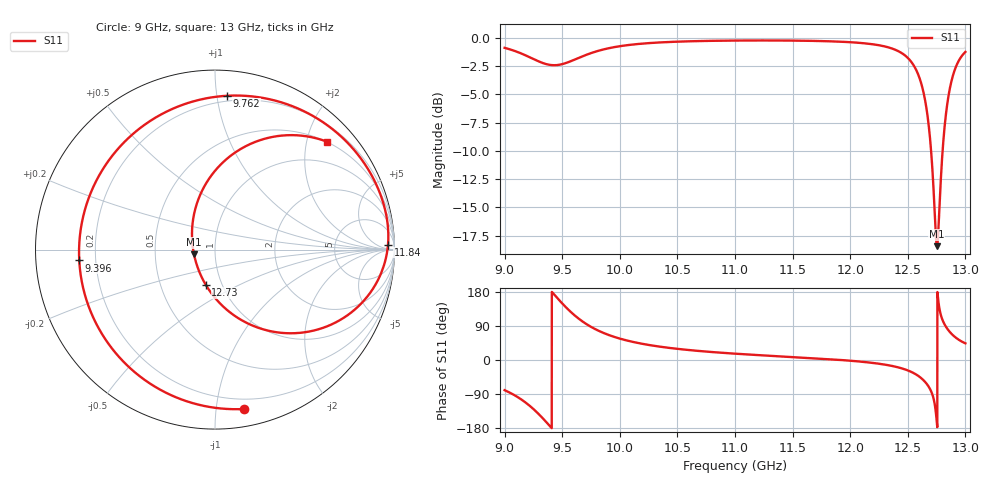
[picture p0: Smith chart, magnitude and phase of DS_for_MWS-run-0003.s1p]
! TOUCHSTONE file generated by CST DESIGN STUDIO
! Date and time: Tue Feb  4 17:26:05 2025
! Project name: C:\Work\MatlabApps\UnitCellOptimizationMatlab\CST\unitcell.cst
! Tree item: Tasks\Sweep1\SPara1\S-Parameters
! Header version: 2024
! Port assignment regex: !\s*Touchstone port\s*([0-9]+)\s*=\s*(CST MWS port|CST DES external port|CST DES block port)\s*(.+)\s* \(\"(.*)\"\)(\s*mode\s*([0-9]+))?.*
! Touchstone port assignment:
! Touchstone port 1 = CST DES external port 1 ("")
# GHz S MA R 50
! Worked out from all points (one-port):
!   4001 points, 9 GHz to 13 GHz, reference 50 ohm
!   lowest |S11| = -18.4 dB at 12.75 GHz (marker M1), VSWR 1.27, Z = 39.5 - j2.08 ohm
!   |S11| at or under -10 dB: 12.7 GHz to 12.8 GHz (99.77 MHz wide, 0.782 % of centre)
!   S11 on the Smith chart (normalised r, x): 9 GHz: 0.12, -1.19; 9.396 GHz: 0.14, -0.04; 9.762 GHz: 0.16, +1.07; 11.84 GHz: 34, +27; 12.73 GHz: 0.84, -0.34; 13 GHz: 0.50, +2.39
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9  0.9029 -79.6
9.114  0.8648 -98.0
9.208  0.8249 -118.4
9.314  0.7797 -148.3
9.396  0.7588 -175.4
9.5  0.7649 149.3
9.623  0.8071 113.9
9.762  0.8598 85.4
9.876  0.8928 69.2
10  0.918 56.5
10.216  0.9443 41.6
10.5  0.9614 29.4
11  0.9723 16.7
11.5  0.972 7.8
11.841  0.9643 1.7
12  0.9562 -1.9
12.319  0.9109 -13.1
12.5  0.815 -27.5
12.577  0.7137 -39.1
12.647  0.5402 -56.7
12.691  0.3684 -75.4
12.726  0.2029 -104.6
12.753  0.1199 -167.5
12.768  0.1501 148.8
12.8  0.3055 106.7
12.862  0.586 74.9
12.917  0.7427 58.9
13  0.8663 43.9
